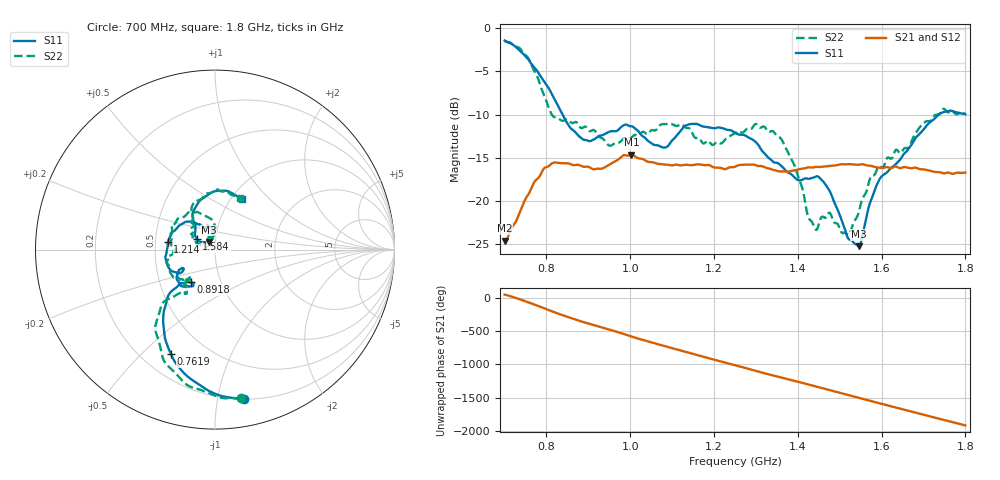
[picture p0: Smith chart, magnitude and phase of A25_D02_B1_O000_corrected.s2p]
! Created with skrf 1.9.0 (http://scikit-rf.org).
# Hz S RI R 50.0
!freq ReS11 ImS11 ReS21 ImS21 ReS12 ImS12 ReS22 ImS22
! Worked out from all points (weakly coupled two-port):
!   1601 points, 700 MHz to 1.8 GHz, reference 50 ohm
!   highest |S21| = -14.64 dB at 1.002 GHz (marker M1); lowest = -24.6 dB at 700.7 MHz (marker M2)
!   lowest |S11| = -25.2 dB at 1.545 GHz (marker M3), VSWR 1.12, Z = 46.5 + j3.95 ohm
!   |S11| at or under -10 dB: 838.5 MHz to 1.736 GHz (897.3 MHz wide, 69.7 % of centre)
!   |S22| runs from -23.9 to -1.5 dB; largest |S21 - S12| = 0.0035
!   S11 on the Smith chart (normalised r, x): 700 MHz: 0.20, -1.19; 761.9 MHz: 0.32, -0.62; 891.8 MHz: 0.72, -0.27; 1.214 GHz: 0.58, +0.05; 1.584 GHz: 0.81, +0.10; 1.8 GHz: 1.12, +0.70
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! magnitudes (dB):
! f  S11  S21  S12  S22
! 700 MHz  -1.4  -24.6  -24.3  -1.5
! 700.7 MHz  -1.4  -24.6  -24.3  -1.5
! 761.9 MHz  -4.0  -18.7  -18.7  -4.0
! 814.1 MHz  -7.7  -15.6  -15.7  -10.1
! 883.6 MHz  -12.7  -15.9  -15.8  -11.6
! 891.8 MHz  -12.9  -16.0  -16.1  -11.4
! 950.9 MHz  -11.9  -15.8  -15.8  -13.6
! 1.002 GHz  -11.3  -14.6  -14.7  -12.7
! 1.067 GHz  -13.6  -15.7  -15.6  -11.4
! 1.139 GHz  -11.1  -15.8  -15.8  -11.5
! 1.214 GHz  -11.5  -16.1  -16.1  -13.3
! 1.25 GHz  -12.1  -16.0  -15.9  -12.1
! 1.3 GHz  -13.2  -15.9  -15.8  -11.1
! 1.359 GHz  -15.8  -16.6  -16.5  -12.7
! 1.434 GHz  -17.3  -16.1  -16.1  -22.4
! 1.472 GHz  -18.5  -16.0  -16.0  -21.5
! 1.52 GHz  -24.3  -15.7  -15.7  -23.9
! 1.545 GHz  -25.2  -15.8  -15.8  -21.3
! 1.584 GHz  -18.6  -16.0  -16.0  -16.9
! 1.617 GHz  -16.4  -16.1  -16.1  -15.0
! 1.738 GHz  -9.9  -16.6  -16.7  -9.9
! 1.8 GHz  -10.0  -16.7  -16.7  -9.9
